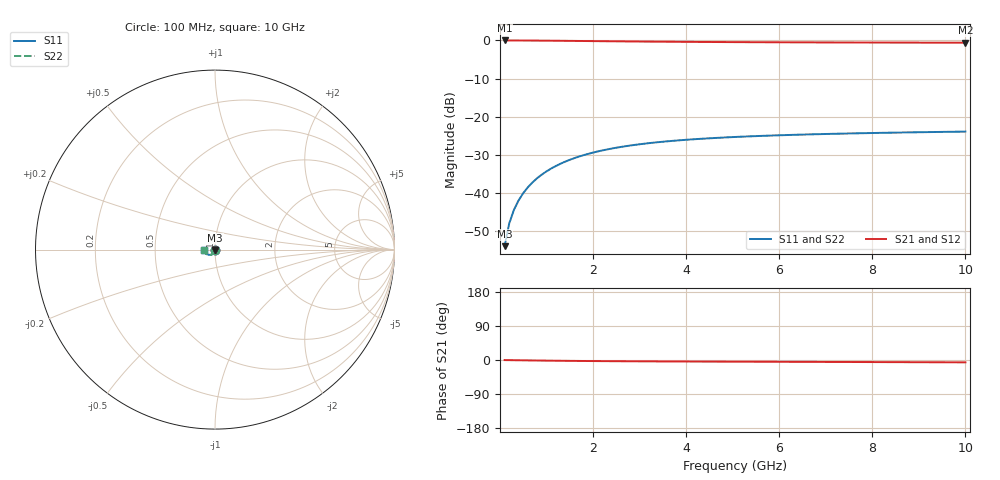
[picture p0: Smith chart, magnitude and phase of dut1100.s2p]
! Touchstone file exported from HFSS 2024.1.0
!  File:  C:/UserFiles/LocalFiles/RDL_TSV_Batchsim/temp_TSV1_1100_1780067172.aedt
!  Generated:  11:14:35 PM May 29, 2026
!  Design:  TSV1
!  Project:  temp_TSV1_1100_1780067172
!  Setup:  Setup1
!  Solution:  Sweep
! Variables:
!  dtsv = 13.7um
!  hbump = 3um
!  htsv = 96.87um
!  lrdl = 252.1521522um
!  p = 40
!  p1 = 59.44um
!  t = 500um
!  trdl = 3um
!  wrdl = 24.89489489um
# GHz S MA R 50.000000
! Terminal data exported
! Port[1] = TSV22_T1
! Port[2] = TSV22_T2
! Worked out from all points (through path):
!   100 points, 100 MHz to 10 GHz, reference 50 ohm
!   highest |S21| = 0.00 dB at 100 MHz (marker M1); lowest = -0.6 dB at 10 GHz (marker M2)
!   lowest |S11| = -54.0 dB at 100 MHz (marker M3), VSWR 1.00, Z = 50 - j0.201 ohm
!   |S11| at or under -10 dB: start of sweep to end of sweep
!   |S22| runs from -54.0 to -23.9 dB; largest |S21 - S12| = 1.1e-14
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0.1  0.002007 -89.3  0.9998 -0.2  0.9998 -0.2  0.002007 -89.3
! Gamma 0 0 0 0
! Port Impedance 50 0 50 0
0.2  0.004009 -92.5  0.9996 -0.4  0.9996 -0.4  0.004009 -92.5
0.3  0.006007 -94.9  0.9992 -0.5  0.9992 -0.5  0.006007 -94.9
0.4  0.007991 -97.1  0.9987 -0.7  0.9987 -0.7  0.007991 -97.1
0.5  0.009952 -99.2  0.9981 -0.9  0.9981 -0.9  0.009952 -99.2
0.6  0.01188 -101.3  0.9974 -1.0  0.9974 -1.0  0.01188 -101.3
0.7  0.01378 -103.3  0.9965 -1.2  0.9965 -1.2  0.01378 -103.3
0.8  0.01563 -105.3  0.9956 -1.3  0.9956 -1.3  0.01563 -105.3
0.9  0.01744 -107.2  0.9946 -1.5  0.9946 -1.5  0.01744 -107.2
1.1  0.02092 -110.9  0.9923 -1.8  0.9923 -1.8  0.02092 -110.9
1.4  0.02573 -116.2  0.9886 -2.2  0.9886 -2.2  0.02573 -116.2
1.6  0.02865 -119.5  0.9859 -2.4  0.9859 -2.4  0.02865 -119.5
1.8  0.03136 -122.7  0.9832 -2.6  0.9832 -2.6  0.03136 -122.7
2.1  0.03502 -127.0  0.9791 -2.9  0.9791 -2.9  0.03502 -127.0
2.5  0.03922 -132.3  0.9739 -3.2  0.9739 -3.2  0.03922 -132.3
2.9  0.04273 -137.0  0.9691 -3.5  0.9691 -3.5  0.04273 -137.0
3.4  0.04635 -142.2  0.9638 -3.7  0.9638 -3.7  0.04635 -142.2
4.2  0.05078 -149.2  0.9567 -4.1  0.9567 -4.1  0.05078 -149.2
5.1  0.0544 -155.7  0.9507 -4.4  0.9507 -4.4  0.0544 -155.7
6.7  0.05874 -164.7  0.9432 -5.0  0.9432 -5.0  0.05874 -164.7
8.4  0.06174 -172.2  0.9381 -5.6  0.9381 -5.6  0.06174 -172.2
10  0.0638 -178.1  0.9349 -6.2  0.9349 -6.2  0.0638 -178.1
